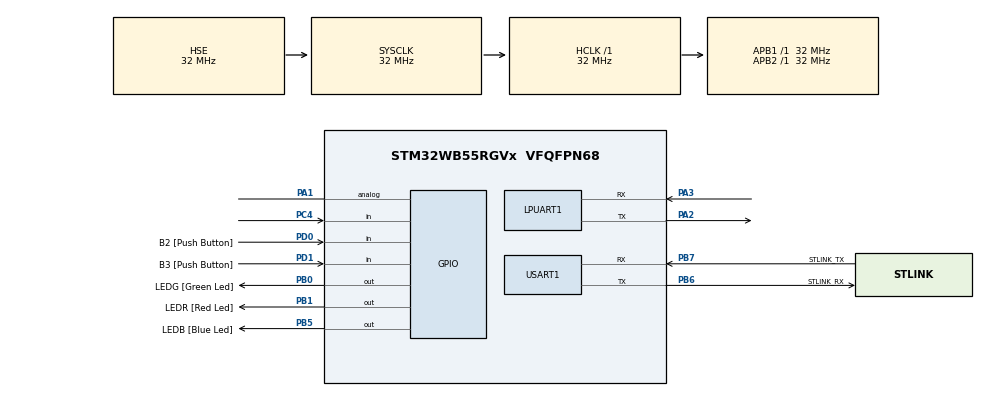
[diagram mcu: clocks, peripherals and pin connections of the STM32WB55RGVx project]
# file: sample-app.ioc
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Mcu.Family=STM32WB
Mcu.Name=STM32WB55RGVx
Mcu.Package=VFQFPN68
NVIC.PriorityGroup=NVIC_PRIORITYGROUP_4
OSC_IN.Mode=HSE-External-Oscillator
OSC_IN.Signal=RCC_OSC_IN
OSC_OUT.Mode=HSE-External-Oscillator
OSC_OUT.Signal=RCC_OSC_OUT
PA1.Signal=GPIO_Analog
PA13.GPIO_Label=JTMS
PA13.Mode=Trace_Asynchronous_SW
PA13.Signal=SYS_JTMS-SWDIO
PA14.GPIO_Label=JTCK
PA14.Mode=Trace_Asynchronous_SW
PA14.Signal=SYS_JTCK-SWCLK
PA2.Mode=Asynchronous
PA2.Signal=LPUART1_TX
PA3.Mode=Asynchronous
PA3.Signal=LPUART1_RX
PB0.GPIO_Label=LEDG [Green Led]
PB0.Signal=GPIO_Output
PB1.GPIO_Label=LEDR [Red Led]
PB1.Signal=GPIO_Output
PB3.GPIO_Label=JTDO
PB3.Mode=Trace_Asynchronous_SW
PB3.Signal=SYS_JTDO-SWO
PB5.GPIO_Label=LEDB [Blue Led]
PB5.Signal=GPIO_Output
PB6.GPIO_Label=STLINK_RX
PB6.GPIO_PuPd=GPIO_PULLUP
PB6.Mode=Asynchronous
PB6.Signal=USART1_TX
PB7.GPIO_Label=STLINK_TX
PB7.GPIO_PuPd=GPIO_PULLUP
PB7.Mode=Asynchronous
PB7.Signal=USART1_RX
PC13.Mode=SYS_WakeUp1
PC13.Signal=SYS_WKUP2
PC14-OSC32_IN.Mode=LSE-External-Oscillator
PC14-OSC32_IN.Signal=RCC_OSC32_IN
PC15-OSC32_OUT.Mode=LSE-External-Oscillator
PC15-OSC32_OUT.Signal=RCC_OSC32_OUT
PC4.Signal=GPIO_Input
PD0.GPIO_Label=B2 [Push Button]
PD0.Signal=GPIO_Input
PD1.GPIO_Label=B3 [Push Button]
PD1.Signal=GPIO_Input
ProjectManager.HeapSize=0x200
ProjectManager.StackSize=0x400
ProjectManager.TargetToolchain=Makefile
RCC.ADCFreq_Value=48000000
RCC.AHBFreq_Value=32000000
RCC.APB1Freq_Value=32000000
RCC.APB1TimFreq_Value=32000000
RCC.APB2Freq_Value=32000000
RCC.APB2TimFreq_Value=32000000
RCC.APB3Freq_Value=16000000
RCC.CortexFreq_Value=32000000
RCC.HCLKFreq_Value=32000000
RCC.HSE_VALUE=32000000
RCC.HSI48_VALUE=48000000
RCC.HSI_VALUE=16000000
RCC.PLLN=32
RCC.PLLSAI1N=24
RCC.SMPSCLockSelectionVirtual=RCC_SMPSCLKSOURCE_HSI
RCC.SMPSCLockSelectionVirtualVirtual=RCC_SMPSCLKSOURCE_HSI
RCC.SMPSDivider=1
RCC.SYSCLKFreq_VALUE=32000000
RCC.SYSCLKSource=RCC_SYSCLKSOURCE_HSE
RCC.USBFreq_Value=48000000
RCC.VCOOutputFreq_Value=128000000
USART1.VirtualMode-Asynchronous=VM_ASYNC
USART1.WordLength=WORDLENGTH_7B
VP_TIM2_VS_ClockSourceINT.Mode=Internal
board=NUCLEO-WB55RG

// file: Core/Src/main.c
/* USER CODE BEGIN Header */
/**
  ******************************************************************************
  * @file           : main.c
  * @brief          : Main program body
  ******************************************************************************
  * @attention
  *
  * Copyright (c) 2022 STMicroelectronics.
  * All rights reserved.
  *
  * This software is licensed under terms that can be found in the LICENSE file
  * in the root directory of this software component.
  * If no LICENSE file comes with this software, it is provided AS-IS.
  *
  ******************************************************************************
  */
/* USER CODE END Header */
#include "main.h"
#include "usart.h"
#include "tim.h"
#include "gpio.h"
#include <string.h>
#include <stdio.h>

/* USER CODE BEGIN Includes */
#include "led.h"
#include "storage.h"
#include "sample-lib.h"
#include <stdlib.h>

/* USER CODE END Includes */

/* USER CODE BEGIN PD */
#define DS18B20_PORT GPIOA
#define DS18B20_PIN GPIO_PIN_1
#define MAX_SIZE_RECEIVE 30

// p1s4 defines //
#define MAX_INPUT_COMMAND 100
#define MAX_INPUT_LED 10
#define MAX_INPUT_STATUS 2
/* USER CODE END PD */

/* USER CODE BEGIN PV */

// p1s2 variables //

// transmiter messages //
uint8_t TxMessage[] = "\n\r ping\n\r";

// receiver messages //
uint8_t RxMessage[MAX_SIZE_RECEIVE] = {'\0'};
int txrx ;

// p1s4 variables //

uint8_t uartreadmessage[100]; //  uart receive(config.c) the whole message //
char command[MAX_INPUT_COMMAND] = {'\0'}; // uart receive(config.c) user command //
char led[MAX_INPUT_LED]; // uart receive(config.c) led option //
char status[MAX_INPUT_STATUS]; // uart receive(config.c) selected status of led //
uint8_t uartresponseled[30] = "operation done!\n"; // after calling of command send a message back to congig //
int i; // uartreadmessage index //
int j;
/* USER CODE END PV */

void SystemClock_Config(void);
void PeriphCommonClock_Config(void);

int main(void)
{
  /* USER CODE BEGIN 1 */
   txrx = 1; // transmitter  1, receiver 0//
  // txrx = 0;
  /* USER CODE END 1 */

  /* MCU Configuration--------------------------------------------------------*/

  /* Reset of all peripherals, Initializes the Flash interface and the Systick. */
  HAL_Init();

  /* Configure the system clock */
  SystemClock_Config();

/* Configure the peripherals common clocks */
  PeriphCommonClock_Config();

  /* Initialize all configured peripherals */
  MX_GPIO_Init();
  MX_USART1_UART_Init();
  MX_LPUART1_UART_Init();
  MX_TIM2_Init();

  /* Infinite loop */
  /* USER CODE BEGIN WHILE */
  /********************** DHT11 *********************/

  while (1)
  {
   // ============================= P1S4 ====================== //

    // printf("hello world\n\r");
    // strcpy(uartreadmessage, "hello_world");
    // HAL_UART_Transmit(&huart1, uartreadmessage, sizeof(uartreadmessage), 100);
    for (i = 0 ; i < 100 ; i++)
      {
        uartreadmessage[i] = '\0';
      }

    for (i = 0 ; i < MAX_INPUT_LED ; i++)
      {
        led[i] = '\0';
      }
    for (i = 0 ; i < MAX_INPUT_STATUS ; i++)
      {
        status[i] = '\0';
      }

    // uartreadmessage[0] = '\0';
    // wait for message from config //
    HAL_UART_Receive(&huart1, uartreadmessage, sizeof(uartreadmessage), 1000);
    i = 0;

    printf("receive command: %s\n\r", uartreadmessage);
    // if nothing received, repeat the receive proceedure //
    if (uartreadmessage[0] == '\0')
      {
        continue;
      }
    i = 0;

    // delimiter //
    // printf("strlen uartreadmessage %d\n\r", strlen((char* )uartreadmessage));
    for (i = 0 ; i < strlen(uartreadmessage) ; i++)
      {
        if (uartreadmessage[i] != '*')
          {
            command[i] = uartreadmessage[i];
          }
        else break ;
      }
    // printf("command = %s\n\r", command);

    if (strcmp(command, "set_led\n") == 0)
      {
        printf("set_led command\n\r");
        // message format command*led*status* //
        // delimiter //

        // delimiter //
        // printf("led %s i  %d\n\r", led, i);
        j = 0;
        for (i = i + 1 ; i < strlen(uartreadmessage) ; i++)
          {
            if (uartreadmessage[i] != '*')
              {
                led[j] = uartreadmessage[i];
                j++;
              }
            else break ;
          }
        j = 0;
        printf("led %s", led);
        for (i = i + 1 ; i < strlen(uartreadmessage) ; i++)
          {
            if (uartreadmessage[i] != '*')
              {
                status[j] = uartreadmessage[i];
                j++;
              }
            else break ;
          }
         // call the function //
        printf("status %s\n", status);
        printf("strcmp  %d\n", strcmp(led, "red\n"));

         if (strcmp(led, "red\n") == 0)
          {
            printf("eftasa red\n");
            if (strcmp(status, "0") == 0)
              {
                set_led(LED_RED, LED_OFF);
              }
            else
              {
                set_led(LED_RED, LED_ON);
              }
          }
        else if (strcmp(led, "blue\n") == 0)
          {
            printf("eftasa blue\n");
            if (strcmp(status, "0") == 0)
              {
                set_led(LED_BLUE, LED_OFF);
              }
            else
              {
                set_led(LED_BLUE, LED_ON);
              }
          }
        else if (strcmp(led, "green\n") == 0)
          {
            printf("eftasa green\n");
            if (strcmp(status, "0") == 0)
              {
                set_led(LED_GREEN, LED_OFF);
              }
            else
              {
                set_led(LED_GREEN, LED_ON);
              }
          }
      }
    //     // send response to config to inform that command is submitted successfully //
	      //  HAL_UART_Transmit(&huart1, (uint8_t *)uartresponseled, sizeof(uartresponseled), 0xFFFF);
    //   }
       /*
      if (strcmp(command, "storage_write"))
          {
            // message format command*address*data* //
            // delimiter //
            while(uartreadmessage[i] != '*')
              {
                idx[i] = uartreadmessage[i];
                i++;
              }
            i++;
            // delimiter //
            while(uartreadmessage[i] != '*')
              {
                data[i] = uartreadmessage[i];
                i++;
              }
            // call the function //
            // idx : startaddress string  //
            // 16 : hexadecimal           //
            storage_write(strtol(idx, NULL, 16), (uint8_t*) data, strlen(data);
            // send response to config to inform that command is submitted successfully //
            HAL_UART_Transmit(&huart1, (uint8_t *)uartresponsestorage, sizeof(uartresponseled), 0xFFFF);
          }
        if (strcmp(command, "storage_read"))
          {
            // message format command*address*len* //
            // delimiter //
            while(uartreadmessage[i] != '*')
              {
                idx[i] = uartreadmessage[i];
                i++;
              }
            i++;
            // delimiter //
            while(uartreadmessage[i] != '*')
              {
                len[i] = uartreadmessage[i];
                i++;
              }
            // call the function //
            // idx : startaddress string  //
            storage_read(strtol(idx, NULL, 16), (uint8_t*) data, (uint32_t) atoi(len));
            // send response to config to inform that command is submitted successfully //
            HAL_UART_Transmit(&huart1, (uint8_t *)uartresponsestorage, sizeof(uartresponseled), 0xFFFF);
          }
    */
    // ============================= P1S4 ====================== //

    // ============================= P1S1 ====================== //

    //hello_world();

    // ============================= P1S1 ====================== //

    /* USER CODE END WHILE */

  }
}

void SystemClock_Config(void)
{
  RCC_OscInitTypeDef RCC_OscInitStruct = {0};
  RCC_ClkInitTypeDef RCC_ClkInitStruct = {0};

  /** Configure the main internal regulator output voltage
  */
  __HAL_PWR_VOLTAGESCALING_CONFIG(PWR_REGULATOR_VOLTAGE_SCALE1);
  /** Initializes the RCC Oscillators according to the specified parameters
  * in the RCC_OscInitTypeDef structure.
  */
  RCC_OscInitStruct.OscillatorType = RCC_OSCILLATORTYPE_HSI|RCC_OSCILLATORTYPE_HSE;
  RCC_OscInitStruct.HSEState = RCC_HSE_ON;
  RCC_OscInitStruct.HSIState = RCC_HSI_ON;
  RCC_OscInitStruct.HSICalibrationValue = RCC_HSICALIBRATION_DEFAULT;
  RCC_OscInitStruct.PLL.PLLState = RCC_PLL_NONE;
  if (HAL_RCC_OscConfig(&RCC_OscInitStruct) != HAL_OK)
  {
    Error_Handler();
  }
  /** Configure the SYSCLKSource, HCLK, PCLK1 and PCLK2 clocks dividers
  */
  RCC_ClkInitStruct.ClockType = RCC_CLOCKTYPE_HCLK4|RCC_CLOCKTYPE_HCLK2
                              |RCC_CLOCKTYPE_HCLK|RCC_CLOCKTYPE_SYSCLK
                              |RCC_CLOCKTYPE_PCLK1|RCC_CLOCKTYPE_PCLK2;
  RCC_ClkInitStruct.SYSCLKSource = RCC_SYSCLKSOURCE_HSE;
  RCC_ClkInitStruct.AHBCLKDivider = RCC_SYSCLK_DIV1;
  RCC_ClkInitStruct.APB1CLKDivider = RCC_HCLK_DIV1;
  RCC_ClkInitStruct.APB2CLKDivider = RCC_HCLK_DIV1;
  RCC_ClkInitStruct.AHBCLK2Divider = RCC_SYSCLK_DIV1;
  RCC_ClkInitStruct.AHBCLK4Divider = RCC_SYSCLK_DIV1;

  if (HAL_RCC_ClockConfig(&RCC_ClkInitStruct, FLASH_LATENCY_1) != HAL_OK)
  {
    Error_Handler();
  }
}

void PeriphCommonClock_Config(void)
{
  RCC_PeriphCLKInitTypeDef PeriphClkInitStruct = {0};

  /** Initializes the peripherals clock
  */
  PeriphClkInitStruct.PeriphClockSelection = RCC_PERIPHCLK_SMPS;
  PeriphClkInitStruct.SmpsClockSelection = RCC_SMPSCLKSOURCE_HSI;
  PeriphClkInitStruct.SmpsDivSelection = RCC_SMPSCLKDIV_RANGE0;

  if (HAL_RCCEx_PeriphCLKConfig(&PeriphClkInitStruct) != HAL_OK)
  {
    Error_Handler();
  }
}

void Error_Handler(void)
{
  __disable_irq();
  while (1)
  {
  }
}
